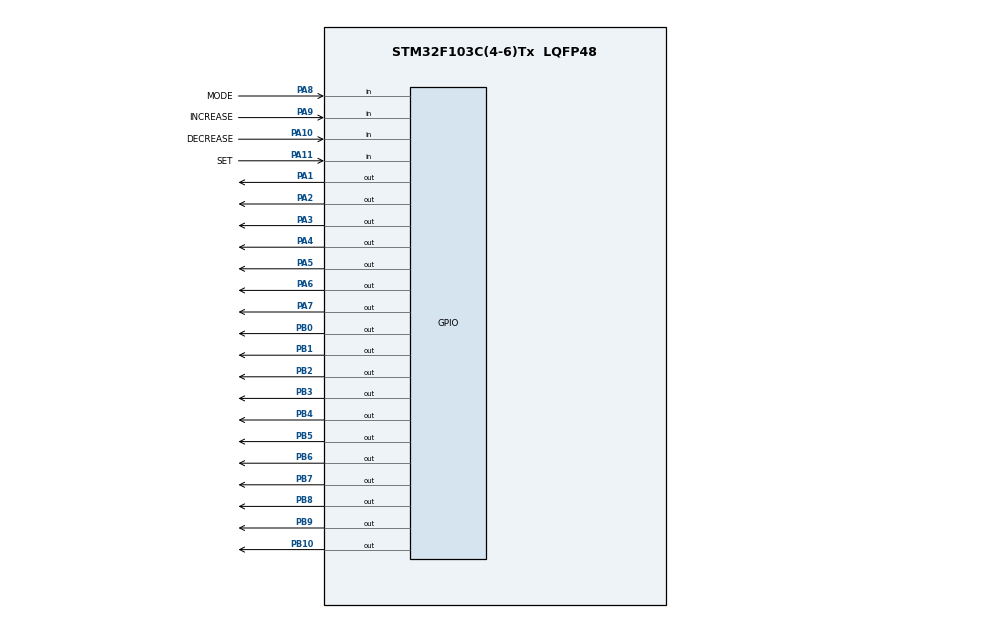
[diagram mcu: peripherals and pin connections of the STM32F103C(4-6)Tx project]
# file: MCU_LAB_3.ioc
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Mcu.Family=STM32F1
Mcu.Name=STM32F103C(4-6)Tx
Mcu.Package=LQFP48
NVIC.PriorityGroup=NVIC_PRIORITYGROUP_4
NVIC.TIM2_IRQn=true\:0\:0\:false\:false\:true\:true\:true
PA1.Signal=GPIO_Output
PA10.GPIO_Label=DECREASE
PA10.Signal=GPIO_Input
PA11.GPIO_Label=SET
PA11.Signal=GPIO_Input
PA2.Signal=GPIO_Output
PA3.Signal=GPIO_Output
PA4.Signal=GPIO_Output
PA5.Signal=GPIO_Output
PA6.Signal=GPIO_Output
PA7.Signal=GPIO_Output
PA8.GPIO_Label=MODE
PA8.Signal=GPIO_Input
PA9.GPIO_Label=INCREASE
PA9.Signal=GPIO_Input
PB0.Signal=GPIO_Output
PB1.Signal=GPIO_Output
PB10.Signal=GPIO_Output
PB2.Signal=GPIO_Output
PB3.Signal=GPIO_Output
PB4.Signal=GPIO_Output
PB5.Signal=GPIO_Output
PB6.Signal=GPIO_Output
PB7.Signal=GPIO_Output
PB8.Signal=GPIO_Output
PB9.Signal=GPIO_Output
ProjectManager.HeapSize=0x200
ProjectManager.StackSize=0x400
ProjectManager.TargetToolchain=STM32CubeIDE
RCC.APB1Freq_Value=8000000
RCC.APB2Freq_Value=8000000
TIM2.Period=9
TIM2.Prescaler=7999
VP_SYS_VS_ND.Mode=No_Debug
VP_TIM2_VS_ClockSourceINT.Mode=Internal
board=custom

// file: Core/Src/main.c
/* USER CODE BEGIN Header */
/**
  ******************************************************************************
  * @file           : main.c
  * @brief          : Main program body
  ******************************************************************************
  * @attention
  *
  * <h2><center>&copy; Copyright (c) 2023 STMicroelectronics.
  * All rights reserved.</center></h2>
  *
  * This software component is licensed by ST under BSD 3-Clause license,
  * the "License"; You may not use this file except in compliance with the
  * License. You may obtain a copy of the License at:
  *                        opensource.org/licenses/BSD-3-Clause
  *
  ******************************************************************************
  */
/* USER CODE END Header */
#include "main.h"

/* USER CODE BEGIN Includes */
#include "timer.h"
#include "input_processing.h"
#include "input_reading.h"
/* USER CODE END Includes */

TIM_HandleTypeDef htim2;

void SystemClock_Config(void);
static void MX_GPIO_Init(void);
static void MX_TIM2_Init(void);
/* USER CODE BEGIN PFP */
void initialize() {
	//first, all button goes to 1
	HAL_GPIO_WritePin(GPIOA, GPIO_PIN_8, SET);
	HAL_GPIO_WritePin(GPIOA, GPIO_PIN_9, SET);
	HAL_GPIO_WritePin(GPIOA, GPIO_PIN_10, SET);
	HAL_GPIO_WritePin(GPIOA, GPIO_PIN_11, SET);

	//first, all light goes to 1
	HAL_GPIO_WritePin(GPIOA, GPIO_PIN_1, SET);
	HAL_GPIO_WritePin(GPIOA, GPIO_PIN_2, SET);
	HAL_GPIO_WritePin(GPIOA, GPIO_PIN_3, SET);
	HAL_GPIO_WritePin(GPIOA, GPIO_PIN_4, SET);
	HAL_GPIO_WritePin(GPIOA, GPIO_PIN_5, SET);
	HAL_GPIO_WritePin(GPIOA, GPIO_PIN_6, SET);

	//all led 7 segment goes to 0
	HAL_GPIO_WritePin(GPIOB, GPIO_PIN_0, SET);
	HAL_GPIO_WritePin(GPIOB, GPIO_PIN_1, SET);
	HAL_GPIO_WritePin(GPIOB, GPIO_PIN_2, SET);
	HAL_GPIO_WritePin(GPIOB, GPIO_PIN_3, SET);
	HAL_GPIO_WritePin(GPIOB, GPIO_PIN_4, SET);
	HAL_GPIO_WritePin(GPIOB, GPIO_PIN_5, SET);
	HAL_GPIO_WritePin(GPIOB, GPIO_PIN_6, SET);

}
/* USER CODE END PFP */

int main(void)
{

  /* MCU Configuration--------------------------------------------------------*/

  /* Reset of all peripherals, Initializes the Flash interface and the Systick. */
  HAL_Init();

  /* Configure the system clock */
  SystemClock_Config();

  /* Initialize all configured peripherals */
  MX_GPIO_Init();
  MX_TIM2_Init();
  /* USER CODE BEGIN 2 */
  HAL_TIM_Base_Start_IT(&htim2);
  /* USER CODE END 2 */

  /* Infinite loop */
  while (1)
  {
	  fsm_for_button_processing();
	  fsm_for_mode_processing();
  }
}

void SystemClock_Config(void)
{
  RCC_OscInitTypeDef RCC_OscInitStruct = {0};
  RCC_ClkInitTypeDef RCC_ClkInitStruct = {0};

  /** Initializes the RCC Oscillators according to the specified parameters
  * in the RCC_OscInitTypeDef structure.
  */
  RCC_OscInitStruct.OscillatorType = RCC_OSCILLATORTYPE_HSI;
  RCC_OscInitStruct.HSIState = RCC_HSI_ON;
  RCC_OscInitStruct.HSICalibrationValue = RCC_HSICALIBRATION_DEFAULT;
  RCC_OscInitStruct.PLL.PLLState = RCC_PLL_NONE;
  if (HAL_RCC_OscConfig(&RCC_OscInitStruct) != HAL_OK)
  {
    Error_Handler();
  }
  /** Initializes the CPU, AHB and APB buses clocks
  */
  RCC_ClkInitStruct.ClockType = RCC_CLOCKTYPE_HCLK|RCC_CLOCKTYPE_SYSCLK
                              |RCC_CLOCKTYPE_PCLK1|RCC_CLOCKTYPE_PCLK2;
  RCC_ClkInitStruct.SYSCLKSource = RCC_SYSCLKSOURCE_HSI;
  RCC_ClkInitStruct.AHBCLKDivider = RCC_SYSCLK_DIV1;
  RCC_ClkInitStruct.APB1CLKDivider = RCC_HCLK_DIV1;
  RCC_ClkInitStruct.APB2CLKDivider = RCC_HCLK_DIV1;

  if (HAL_RCC_ClockConfig(&RCC_ClkInitStruct, FLASH_LATENCY_0) != HAL_OK)
  {
    Error_Handler();
  }
}

static void MX_TIM2_Init(void)
{

  TIM_ClockConfigTypeDef sClockSourceConfig = {0};
  TIM_MasterConfigTypeDef sMasterConfig = {0};

  htim2.Instance = TIM2;
  htim2.Init.Prescaler = 7999;
  htim2.Init.CounterMode = TIM_COUNTERMODE_UP;
  htim2.Init.Period = 9;
  htim2.Init.ClockDivision = TIM_CLOCKDIVISION_DIV1;
  htim2.Init.AutoReloadPreload = TIM_AUTORELOAD_PRELOAD_DISABLE;
  if (HAL_TIM_Base_Init(&htim2) != HAL_OK)
  {
    Error_Handler();
  }
  sClockSourceConfig.ClockSource = TIM_CLOCKSOURCE_INTERNAL;
  if (HAL_TIM_ConfigClockSource(&htim2, &sClockSourceConfig) != HAL_OK)
  {
    Error_Handler();
  }
  sMasterConfig.MasterOutputTrigger = TIM_TRGO_RESET;
  sMasterConfig.MasterSlaveMode = TIM_MASTERSLAVEMODE_DISABLE;
  if (HAL_TIMEx_MasterConfigSynchronization(&htim2, &sMasterConfig) != HAL_OK)
  {
    Error_Handler();
  }

}

static void MX_GPIO_Init(void)
{
  GPIO_InitTypeDef GPIO_InitStruct = {0};

  /* GPIO Ports Clock Enable */
  __HAL_RCC_GPIOA_CLK_ENABLE();
  __HAL_RCC_GPIOB_CLK_ENABLE();

  /*Configure GPIO pin Output Level */
  HAL_GPIO_WritePin(GPIOA, GPIO_PIN_1|GPIO_PIN_2|GPIO_PIN_3|GPIO_PIN_4
                          |GPIO_PIN_5|GPIO_PIN_6|GPIO_PIN_7, GPIO_PIN_RESET);

  /*Configure GPIO pin Output Level */
  HAL_GPIO_WritePin(GPIOB, GPIO_PIN_0|GPIO_PIN_1|GPIO_PIN_2|GPIO_PIN_10
                          |GPIO_PIN_3|GPIO_PIN_4|GPIO_PIN_5|GPIO_PIN_6
                          |GPIO_PIN_7|GPIO_PIN_8|GPIO_PIN_9, GPIO_PIN_RESET);

  /*Configure GPIO pins : PA1 PA2 PA3 PA4
                           PA5 PA6 PA7 */
  GPIO_InitStruct.Pin = GPIO_PIN_1|GPIO_PIN_2|GPIO_PIN_3|GPIO_PIN_4
                          |GPIO_PIN_5|GPIO_PIN_6|GPIO_PIN_7;
  GPIO_InitStruct.Mode = GPIO_MODE_OUTPUT_PP;
  GPIO_InitStruct.Pull = GPIO_NOPULL;
  GPIO_InitStruct.Speed = GPIO_SPEED_FREQ_LOW;
  HAL_GPIO_Init(GPIOA, &GPIO_InitStruct);

  /*Configure GPIO pins : PB0 PB1 PB2 PB10
                           PB3 PB4 PB5 PB6
                           PB7 PB8 PB9 */
  GPIO_InitStruct.Pin = GPIO_PIN_0|GPIO_PIN_1|GPIO_PIN_2|GPIO_PIN_10
                          |GPIO_PIN_3|GPIO_PIN_4|GPIO_PIN_5|GPIO_PIN_6
                          |GPIO_PIN_7|GPIO_PIN_8|GPIO_PIN_9;
  GPIO_InitStruct.Mode = GPIO_MODE_OUTPUT_PP;
  GPIO_InitStruct.Pull = GPIO_NOPULL;
  GPIO_InitStruct.Speed = GPIO_SPEED_FREQ_LOW;
  HAL_GPIO_Init(GPIOB, &GPIO_InitStruct);

  /*Configure GPIO pins : MODE_Pin INCREASE_Pin DECREASE_Pin SET_Pin */
  GPIO_InitStruct.Pin = MODE_Pin|INCREASE_Pin|DECREASE_Pin|SET_Pin;
  GPIO_InitStruct.Mode = GPIO_MODE_INPUT;
  GPIO_InitStruct.Pull = GPIO_NOPULL;
  HAL_GPIO_Init(GPIOA, &GPIO_InitStruct);

}

/* USER CODE BEGIN 4 */
void HAL_TIM_PeriodElapsedCallback(TIM_HandleTypeDef *htim) {
	if (htim->Instance == TIM2) {
		button_reading();
		timer_run();
	}
}
/* USER CODE END 4 */

void Error_Handler(void)
{
  __disable_irq();
  while (1)
  {
  }
}

/************************ (C) COPYRIGHT STMicroelectronics *****END OF FILE****/
